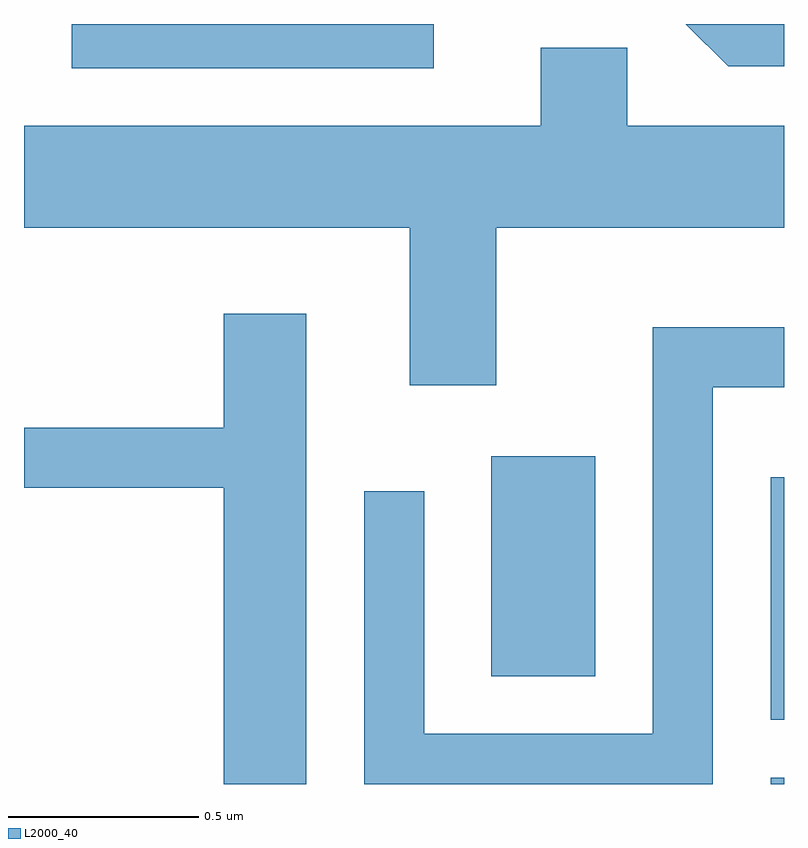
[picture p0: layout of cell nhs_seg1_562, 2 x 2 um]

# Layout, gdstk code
import gdstk
lib = gdstk.Library(unit=1e-6, precision=1e-09)
def R(c, l, rs):  # rectangles x0, y0, x1, y1
    for r in rs: c.add(gdstk.rectangle(r[:2], r[2:], *l))
def P(c, l, *ps):  # polygons
    for p in ps: c.add(gdstk.Polygon(p, *l))
L2000_40 = (2000, 40)

nhs_seg1_562 = lib.new_cell('nhs_seg1_562')
R(nhs_seg1_562, L2000_40, [(191.576,853.712,191.611,853.729), (191.576,853.881,191.611,854.519), (190.841,853.996,191.114,854.574), (189.736,855.596,190.689,855.712)])
P(nhs_seg1_562, L2000_40, [(191.611,855.712),(191.353,855.712),(191.464,855.601),(191.611,855.601)],
  [(190.854,855.176),(191.611,855.176),(191.611,855.444),(191.199,855.444),(191.199,855.649),(190.971,855.649),(190.971,855.444),(189.611,855.444),(189.611,855.176),(190.626,855.176),(190.626,854.761),(190.854,854.761)],
  [(190.354,854.949),(190.136,854.949),(190.136,854.649),(189.611,854.649),(189.611,854.491),(190.136,854.491),(190.136,853.712),(190.354,853.712)],
  [(191.424,854.756),(191.611,854.756),(191.611,854.914),(191.266,854.914),(191.266,853.844),(190.664,853.844),(190.664,854.483),(190.506,854.483),(190.506,853.712),(191.424,853.712)])

lib.write_gds('nhs_seg1_562.gds')
